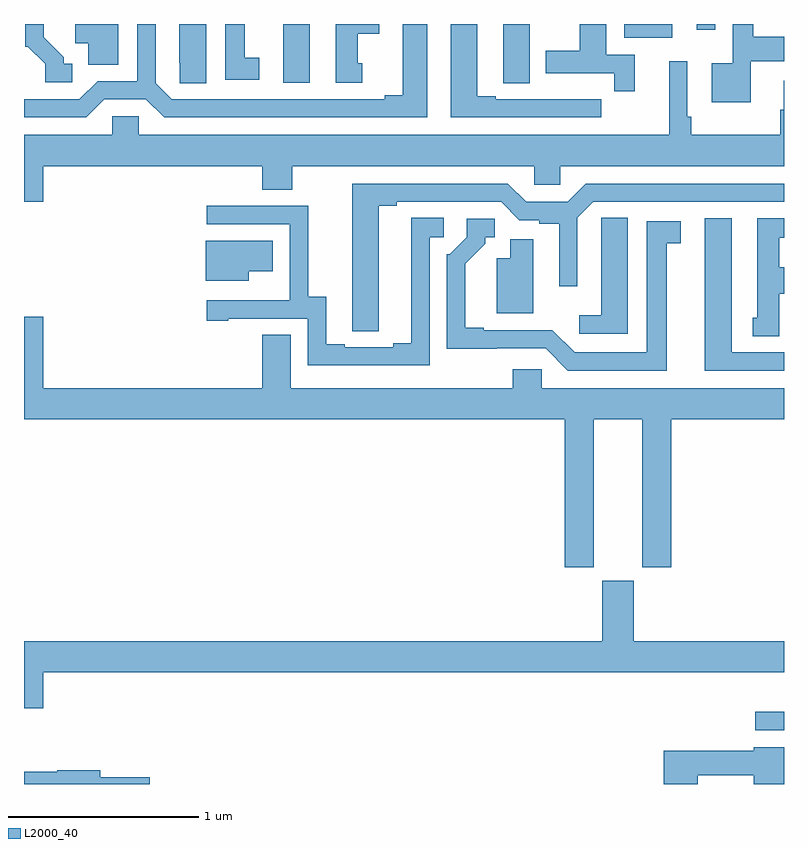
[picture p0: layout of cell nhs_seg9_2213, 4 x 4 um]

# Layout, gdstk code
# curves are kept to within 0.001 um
import gdstk
lib = gdstk.Library(unit=1e-6, precision=1e-09)
def R(c, l, rs):  # rectangles x0, y0, x1, y1
    for r in rs: c.add(gdstk.rectangle(r[:2], r[2:], *l))
def P(c, l, *ps):  # polygons
    for p in ps: c.add(gdstk.Polygon(p, *l))
L2000_40 = (2000, 40)

nhs_seg9_2213 = lib.new_cell('nhs_seg9_2213')
R(nhs_seg9_2213, L2000_40, [(240.849,1194.783,241,1194.879), (238.364,1198.191,238.504,1198.5), (240.158,1198.427,240.412,1198.5), (240.542,1198.47,240.639,1198.5)])
P(nhs_seg9_2213, L2000_40, [(240.037,1198.104),(239.924,1198.104),(239.924,1198.105),(239.758,1198.105),(239.758,1198.104),(239.482,1198.104),(239.482,1198.119),(239.386,1198.119),(239.386,1198.5),(239.246,1198.5),(239.246,1198.008),(240.037,1198.008)],
  [(237.496,1198.5),(237.269,1198.5),(237.269,1198.4),(237.338,1198.4),(237.338,1198.285),(237.496,1198.285)],
  [(237.958,1198.5),(237.818,1198.5),(237.818,1198.297),(237.819,1198.297),(237.819,1198.189),(237.958,1198.189)],
  [(238.237,1198.322),(238.162,1198.322),(238.162,1198.5),(238.058,1198.5),(238.058,1198.206),(238.237,1198.206)],
  [(237.253,1198.29),(237.208,1198.29),(237.208,1198.325),(237.103,1198.43),(237.103,1198.5),(237.006,1198.5),(237.006,1198.38),(237.021,1198.38),(237.111,1198.29),(237.111,1198.194),(237.253,1198.194)],
  [(237.423,1198.104),(237.641,1198.104),(237.737,1198.008),(239.122,1198.008),(239.122,1198.5),(238.994,1198.5),(238.994,1198.124),(238.898,1198.124),(238.898,1198.104),(237.777,1198.104),(237.693,1198.188),(237.693,1198.5),(237.597,1198.5),(237.597,1198.2),(237.387,1198.2),(237.291,1198.104),(237,1198.104),(237,1198.008),(237.327,1198.008)],
  [(239.662,1198.5),(239.522,1198.5),(239.522,1198.297),(239.523,1198.297),(239.523,1198.189),(239.662,1198.189)],
  [(240.215,1198.338),(240.064,1198.338),(240.064,1198.5),(239.924,1198.5),(239.924,1198.359),(239.747,1198.359),(239.747,1198.242),(240.106,1198.242),(240.106,1198.146),(240.215,1198.146)],
  [(240.826,1198.304),(241,1198.304),(241,1198.434),(240.838,1198.434),(240.838,1198.5),(240.729,1198.5),(240.729,1198.294),(240.62,1198.294),(240.62,1198.088),(240.826,1198.088)],
  [(238.78,1198.293),(238.756,1198.293),(238.756,1198.448),(238.87,1198.448),(238.87,1198.5),(238.64,1198.5),(238.64,1198.191),(238.78,1198.191)],
  [(237.1,1197.752),(238.253,1197.752),(238.253,1197.628),(238.413,1197.628),(238.413,1197.752),(239.685,1197.752),(239.685,1197.654),(239.823,1197.654),(239.823,1197.752),(241,1197.752),(241,1198.201),(240.998,1198.201),(240.998,1198.05),(240.979,1198.05),(240.979,1197.916),(240.512,1197.916),(240.512,1198.012),(240.492,1198.012),(240.492,1198.303),(240.395,1198.303),(240.395,1197.916),(237.603,1197.916),(237.603,1198.014),(237.465,1198.014),(237.465,1197.916),(237,1197.916),(237,1197.564),(237.1,1197.564)],
  [(238.867,1197.544),(238.963,1197.544),(238.963,1197.564),(239.511,1197.564),(239.607,1197.468),(239.712,1197.468),(239.712,1197.448),(239.816,1197.448),(239.816,1197.12),(239.913,1197.12),(239.913,1197.48),(239.997,1197.564),(241,1197.564),(241,1197.66),(239.957,1197.66),(239.861,1197.564),(239.643,1197.564),(239.547,1197.66),(238.727,1197.66),(238.728,1196.884),(238.867,1196.884)],
  [(239.136,1197.378),(239.209,1197.378),(239.209,1197.479),(239.039,1197.479),(239.039,1196.819),(238.943,1196.819),(238.943,1196.799),(238.687,1196.799),(238.687,1196.814),(238.591,1196.814),(238.591,1197.065),(238.497,1197.065),(238.497,1197.543),(237.963,1197.543),(237.963,1197.447),(238.398,1197.447),(238.398,1197.046),(238.397,1197.046),(238.397,1197.045),(237.963,1197.045),(237.963,1196.937),(238.075,1196.937),(238.075,1196.949),(238.494,1196.949),(238.494,1196.703),(239.136,1196.703)],
  [(240.178,1197.479),(240.039,1197.479),(240.039,1197.371),(240.038,1197.371),(240.038,1196.968),(239.922,1196.968),(239.922,1196.871),(240.178,1196.871)],
  [(240.976,1197.08),(241,1197.08),(241,1197.22),(240.976,1197.22),(240.976,1197.375),(241,1197.375),(241,1197.478),(240.86,1197.478),(240.86,1196.955),(240.836,1196.955),(240.836,1196.857),(240.976,1196.857)],
  [(241,1196.772),(240.724,1196.772),(240.724,1197.478),(240.584,1197.478),(240.584,1196.676),(241,1196.676)],
  [(240.382,1197.346),(240.457,1197.346),(240.457,1197.462),(240.278,1197.462),(240.278,1196.772),(239.898,1196.772),(239.781,1196.889),(239.419,1196.889),(239.419,1196.902),(239.323,1196.902),(239.323,1197.238),(239.428,1197.343),(239.428,1197.378),(239.478,1197.378),(239.478,1197.474),(239.331,1197.474),(239.331,1197.378),(239.241,1197.288),(239.226,1197.288),(239.226,1196.792),(239.745,1196.793),(239.862,1196.676),(240.382,1196.676)],
  [(239.68,1197.366),(239.558,1197.366),(239.558,1197.268),(239.489,1197.268),(239.489,1196.978),(239.68,1196.978)],
  [(238.183,1197.2),(238.309,1197.2),(238.309,1197.358),(237.956,1197.358),(237.956,1197.149),(238.183,1197.149)],
  [(239.998,1196.42),(240.254,1196.42),(240.254,1195.641),(240.407,1195.641),(240.407,1196.42),(241,1196.42),(241,1196.584),(239.724,1196.584),(239.724,1196.682),(239.573,1196.682),(239.573,1196.584),(238.405,1196.584),(238.405,1196.864),(238.253,1196.864),(238.253,1196.584),(237.1,1196.584),(237.1,1196.959),(237,1196.959),(237,1196.42),(239.846,1196.42),(239.846,1195.641),(239.998,1195.641)],
  [(237.1,1195.088),(241,1195.088),(241,1195.252),(240.208,1195.252),(240.208,1195.569),(240.044,1195.569),(240.044,1195.252),(237,1195.252),(237,1194.9),(237.1,1194.9)],
  [(240.546,1194.547),(240.842,1194.547),(240.842,1194.5),(241,1194.5),(241,1194.694),(240.842,1194.694),(240.842,1194.676),(240.368,1194.676),(240.368,1194.5),(240.546,1194.5)],
  [(237.661,1194.536),(237.4,1194.536),(237.4,1194.572),(237.176,1194.572),(237.176,1194.565),(237,1194.565),(237,1194.5),(237.661,1194.5)])

lib.write_gds('nhs_seg9_2213.gds')
